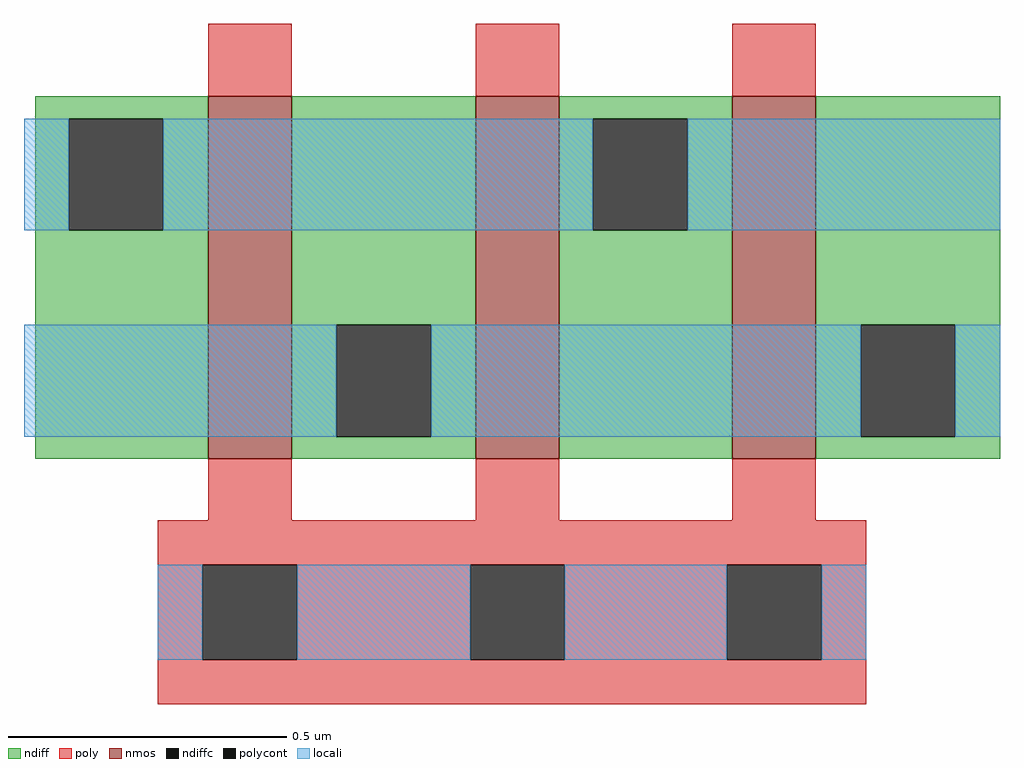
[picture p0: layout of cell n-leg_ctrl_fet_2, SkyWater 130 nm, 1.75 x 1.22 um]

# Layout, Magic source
magic
tech sky130A
magscale 1 2
<< nmos >>
rect -63 -65 -33 65
rect 33 -65 63 65
rect 125 -65 155 65
<< ndiff >>
rect -125 57 -63 65
rect -125 17 -113 57
rect -79 17 -63 57
rect -125 -65 -63 17
rect -33 -17 33 65
rect -33 -57 -17 -17
rect 17 -57 33 -17
rect -33 -65 33 -57
rect 63 57 125 65
rect 63 17 75 57
rect 109 17 125 57
rect 63 -65 125 17
rect 155 -17 221 65
rect 155 -57 171 -17
rect 205 -57 221 -17
rect 155 -65 221 -57
<< ndiffc >>
rect -113 17 -79 57
rect -17 -57 17 -17
rect 75 17 109 57
rect 171 -57 205 -17
<< poly >>
rect -63 65 -33 91
rect 33 65 63 91
rect 125 65 155 91
rect -63 -87 -33 -65
rect 33 -87 63 -65
rect 125 -87 155 -65
rect -81 -103 173 -87
rect -81 -137 -65 -103
rect -31 -137 31 -103
rect 65 -137 123 -103
rect 157 -137 173 -103
rect -81 -153 173 -137
<< polycont >>
rect -65 -137 -31 -103
rect 31 -137 65 -103
rect 123 -137 157 -103
<< locali >>
rect -129 17 -113 57
rect -79 17 75 57
rect 109 17 221 57
rect -129 -57 -17 -17
rect 17 -57 171 -17
rect 205 -57 221 -17
rect -81 -137 -65 -103
rect -31 -137 31 -103
rect 65 -137 123 -103
rect 157 -137 173 -103
<< properties >>
string gencell sky130_fd_pr__nfet_01v8
string library sky130
string parameters w 0.650 l 0.150 m 1 nf 2 diffcov 25 polycov 100 guard 0 glc 0 grc 0 gtc 0 gbc 0 tbcov 100 rlcov 100 topc 0 botc 0 poverlap 1 doverlap 1 lmin 0.15 wmin 0.42 compatible {sky130_fd_pr__nfet_01v8 sky130_fd_pr__nfet_01v8_lvt  sky130_fd_bs_flash__special_sonosfet_star  sky130_fd_pr__nfet_g5v0d10v5 sky130_fd_pr__nfet_05v0_nvt  sky130_fd_pr__nfet_03v3_nvt} full_metal 0 viasrc 0 viadrn 0 viagate 0 viagb 0 viagr 0 viagl 0 viagt 0
<< end >>
